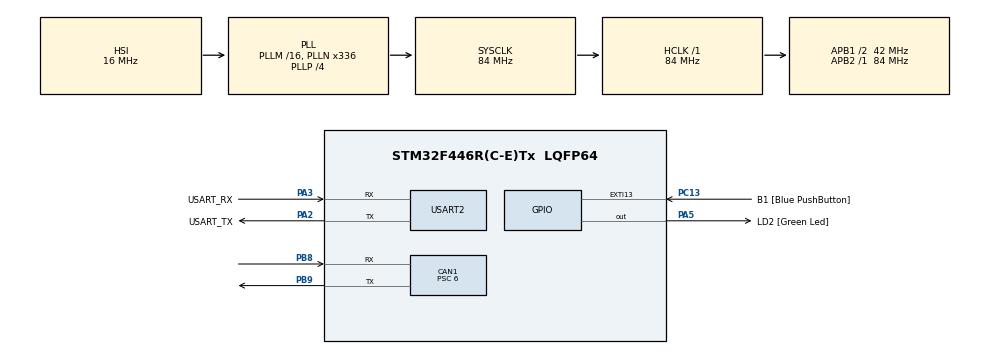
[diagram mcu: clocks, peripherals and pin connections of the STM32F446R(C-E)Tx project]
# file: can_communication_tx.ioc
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CAN1.BS1=CAN_BS1_11TQ
CAN1.BS2=CAN_BS2_2TQ
CAN1.CalculateBaudRate=500000
CAN1.CalculateTimeBit=2000
CAN1.CalculateTimeQuantum=142.85714285714286
CAN1.NART=ENABLE
CAN1.Prescaler=6
Mcu.Family=STM32F4
Mcu.Name=STM32F446R(C-E)Tx
Mcu.Package=LQFP64
NVIC.PriorityGroup=NVIC_PRIORITYGROUP_0
PA13.GPIO_Label=TMS
PA13.Mode=Serial_Wire
PA13.Signal=SYS_JTMS-SWDIO
PA14.GPIO_Label=TCK
PA14.Mode=Serial_Wire
PA14.Signal=SYS_JTCK-SWCLK
PA2.GPIO_Label=USART_TX
PA2.Mode=Asynchronous
PA2.Signal=USART2_TX
PA3.GPIO_Label=USART_RX
PA3.Mode=Asynchronous
PA3.Signal=USART2_RX
PA5.GPIO_Label=LD2 [Green Led]
PA5.Signal=GPIO_Output
PB3.GPIO_Label=SWO
PB3.Signal=SYS_JTDO-SWO
PB8.Mode=CAN_Activate
PB8.Signal=CAN1_RX
PB9.Mode=CAN_Activate
PB9.Signal=CAN1_TX
PC13.GPIO_Label=B1 [Blue PushButton]
PC13.GPIO_ModeDefaultEXTI=GPIO_MODE_IT_FALLING
PC13.Signal=GPXTI13
PC14-OSC32_IN.Mode=LSE-External-Oscillator
PC14-OSC32_IN.Signal=RCC_OSC32_IN
PC15-OSC32_OUT.Mode=LSE-External-Oscillator
PC15-OSC32_OUT.Signal=RCC_OSC32_OUT
PH0-OSC_IN.Mode=HSE-External-Oscillator
PH0-OSC_IN.Signal=RCC_OSC_IN
PH1-OSC_OUT.Mode=HSE-External-Oscillator
PH1-OSC_OUT.Signal=RCC_OSC_OUT
ProjectManager.HeapSize=0x200
ProjectManager.StackSize=0x400
ProjectManager.TargetToolchain=STM32CubeIDE
RCC.48MHZClocksFreq_Value=84000000
RCC.AHBFreq_Value=84000000
RCC.APB1CLKDivider=RCC_HCLK_DIV2
RCC.APB1Freq_Value=42000000
RCC.APB1TimFreq_Value=84000000
RCC.APB2Freq_Value=84000000
RCC.APB2TimFreq_Value=84000000
RCC.CortexFreq_Value=84000000
RCC.FLatency-AdvancedSettings=FLASH_LATENCY_2
RCC.HCLKFreq_Value=84000000
RCC.HSE_VALUE=8000000
RCC.HSI_VALUE=16000000
RCC.PLLN=336
RCC.PLLP=RCC_PLLP_DIV4
RCC.SYSCLKFreq_VALUE=84000000
RCC.SYSCLKSource=RCC_SYSCLKSOURCE_PLLCLK
RCC.USBFreq_Value=168000000
RCC.VCOOutputFreq_Value=336000000
USART2.VirtualMode=VM_ASYNC
board=NUCLEO-F446RE

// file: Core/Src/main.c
/* USER CODE BEGIN Header */
/**
  ******************************************************************************
  * @file           : main.c
  * @brief          : Main program body
  ******************************************************************************
  * @attention
  *
  * Copyright (c) 2026 STMicroelectronics.
  * All rights reserved.
  *
  * This software is licensed under terms that can be found in the LICENSE file
  * in the root directory of this software component.
  * If no LICENSE file comes with this software, it is provided AS-IS.
  *
  ******************************************************************************
  */
/* USER CODE END Header */
#include "main.h"

CAN_HandleTypeDef hcan1;

UART_HandleTypeDef huart2;

/* USER CODE BEGIN PV */
/* USER CODE BEGIN PV */

CAN_TxHeaderTypeDef TxHeader;
uint32_t TxMailbox;
uint8_t TxData[8];

uint32_t speed_table[] = {50, 100, 300, 500};

uint8_t speed_index = 0;

uint32_t interval = 50;

uint32_t last_time = 0;

GPIO_PinState last_button = GPIO_PIN_SET;

uint8_t current_target = 0;

/* USER CODE END PV */
/* USER CODE END PV */

void SystemClock_Config(void);
static void MX_GPIO_Init(void);
static void MX_CAN1_Init(void);
static void MX_USART2_UART_Init(void);

int main(void)
{

  /* MCU Configuration--------------------------------------------------------*/

  /* Reset of all peripherals, Initializes the Flash interface and the Systick. */
  HAL_Init();

  /* Configure the system clock */
  SystemClock_Config();

  /* Initialize all configured peripherals */
  MX_GPIO_Init();
  MX_CAN1_Init();
  MX_USART2_UART_Init();
  /* USER CODE BEGIN 2 */
  /* USER CODE BEGIN 2 */

  /* USER CODE BEGIN 2 */

  if (HAL_CAN_Start(&hcan1) != HAL_OK)
  {
      Error_Handler();
  }

  /* Initial state: STM1 LED ON */
  HAL_GPIO_WritePin(LD2_GPIO_Port,
                    LD2_Pin,
                    GPIO_PIN_SET);

  TxHeader.StdId = 0x101;
  TxHeader.ExtId = 0x00;
  TxHeader.IDE = CAN_ID_STD;
  TxHeader.RTR = CAN_RTR_DATA;
  TxHeader.DLC = 1;
  TxHeader.TransmitGlobalTime = DISABLE;

  /* USER CODE END 2 */

  /* USER CODE END 2 */
  /* USER CODE END 2 */

  /* Infinite loop */
  /* USER CODE BEGIN WHILE */
  while (1)
  {
      GPIO_PinState current_button;

      current_button = HAL_GPIO_ReadPin(B1_GPIO_Port, B1_Pin);

      /* Button pressed */
      if ((current_button == GPIO_PIN_RESET) &&
          (last_button == GPIO_PIN_SET))
      {
          HAL_Delay(20);

          if (HAL_GPIO_ReadPin(B1_GPIO_Port, B1_Pin) == GPIO_PIN_RESET)
          {
              speed_index++;

              if (speed_index >= 4)
              {
                  speed_index = 0;
              }

              interval = speed_table[speed_index];

              /* Wait for release */
              while (HAL_GPIO_ReadPin(B1_GPIO_Port, B1_Pin) == GPIO_PIN_RESET)
              {
              }

              HAL_Delay(20);
          }
      }

      last_button = current_button;

      /* Automatic LED sequence */
      if ((HAL_GetTick() - last_time) >= interval)
      {
          last_time = HAL_GetTick();

          current_target++;

          if (current_target > 2)
          {
              current_target = 0;
          }

          /* STM2 */
          TxHeader.StdId = 0x101;
          TxData[0] = (current_target == 1) ? 1 : 0;

          if (HAL_CAN_AddTxMessage(&hcan1,
                                   &TxHeader,
                                   TxData,
                                   &TxMailbox) != HAL_OK)
          {
              Error_Handler();
          }

          while (HAL_CAN_IsTxMessagePending(&hcan1, TxMailbox));

          /* STM3 */
          TxHeader.StdId = 0x102;
          TxData[0] = (current_target == 2) ? 1 : 0;

          if (HAL_CAN_AddTxMessage(&hcan1,
                                   &TxHeader,
                                   TxData,
                                   &TxMailbox) != HAL_OK)
          {
              Error_Handler();
          }

          while (HAL_CAN_IsTxMessagePending(&hcan1, TxMailbox));

          /* STM1 */
          HAL_GPIO_WritePin(LD2_GPIO_Port,
                            LD2_Pin,
                            (current_target == 0) ?
                            GPIO_PIN_SET :
                            GPIO_PIN_RESET);
      }

  }}
void SystemClock_Config(void)
{
  RCC_OscInitTypeDef RCC_OscInitStruct = {0};
  RCC_ClkInitTypeDef RCC_ClkInitStruct = {0};

  /** Configure the main internal regulator output voltage
  */
  __HAL_RCC_PWR_CLK_ENABLE();
  __HAL_PWR_VOLTAGESCALING_CONFIG(PWR_REGULATOR_VOLTAGE_SCALE3);

  /** Initializes the RCC Oscillators according to the specified parameters
  * in the RCC_OscInitTypeDef structure.
  */
  RCC_OscInitStruct.OscillatorType = RCC_OSCILLATORTYPE_HSI;
  RCC_OscInitStruct.HSIState = RCC_HSI_ON;
  RCC_OscInitStruct.HSICalibrationValue = RCC_HSICALIBRATION_DEFAULT;
  RCC_OscInitStruct.PLL.PLLState = RCC_PLL_ON;
  RCC_OscInitStruct.PLL.PLLSource = RCC_PLLSOURCE_HSI;
  RCC_OscInitStruct.PLL.PLLM = 16;
  RCC_OscInitStruct.PLL.PLLN = 336;
  RCC_OscInitStruct.PLL.PLLP = RCC_PLLP_DIV4;
  RCC_OscInitStruct.PLL.PLLQ = 2;
  RCC_OscInitStruct.PLL.PLLR = 2;
  if (HAL_RCC_OscConfig(&RCC_OscInitStruct) != HAL_OK)
  {
    Error_Handler();
  }

  /** Initializes the CPU, AHB and APB buses clocks
  */
  RCC_ClkInitStruct.ClockType = RCC_CLOCKTYPE_HCLK|RCC_CLOCKTYPE_SYSCLK
                              |RCC_CLOCKTYPE_PCLK1|RCC_CLOCKTYPE_PCLK2;
  RCC_ClkInitStruct.SYSCLKSource = RCC_SYSCLKSOURCE_PLLCLK;
  RCC_ClkInitStruct.AHBCLKDivider = RCC_SYSCLK_DIV1;
  RCC_ClkInitStruct.APB1CLKDivider = RCC_HCLK_DIV2;
  RCC_ClkInitStruct.APB2CLKDivider = RCC_HCLK_DIV1;

  if (HAL_RCC_ClockConfig(&RCC_ClkInitStruct, FLASH_LATENCY_2) != HAL_OK)
  {
    Error_Handler();
  }
}

static void MX_CAN1_Init(void)
{

  hcan1.Instance = CAN1;
  hcan1.Init.Prescaler = 6;
  hcan1.Init.Mode = CAN_MODE_NORMAL;
  hcan1.Init.SyncJumpWidth = CAN_SJW_1TQ;
  hcan1.Init.TimeSeg1 = CAN_BS1_11TQ;
  hcan1.Init.TimeSeg2 = CAN_BS2_2TQ;
  hcan1.Init.TimeTriggeredMode = DISABLE;
  hcan1.Init.AutoBusOff = DISABLE;
  hcan1.Init.AutoWakeUp = DISABLE;
  hcan1.Init.AutoRetransmission = ENABLE;
  hcan1.Init.ReceiveFifoLocked = DISABLE;
  hcan1.Init.TransmitFifoPriority = DISABLE;
  if (HAL_CAN_Init(&hcan1) != HAL_OK)
  {
    Error_Handler();
  }

}

static void MX_USART2_UART_Init(void)
{

  huart2.Instance = USART2;
  huart2.Init.BaudRate = 115200;
  huart2.Init.WordLength = UART_WORDLENGTH_8B;
  huart2.Init.StopBits = UART_STOPBITS_1;
  huart2.Init.Parity = UART_PARITY_NONE;
  huart2.Init.Mode = UART_MODE_TX_RX;
  huart2.Init.HwFlowCtl = UART_HWCONTROL_NONE;
  huart2.Init.OverSampling = UART_OVERSAMPLING_16;
  if (HAL_UART_Init(&huart2) != HAL_OK)
  {
    Error_Handler();
  }

}

static void MX_GPIO_Init(void)
{
  GPIO_InitTypeDef GPIO_InitStruct = {0};

  /* GPIO Ports Clock Enable */
  __HAL_RCC_GPIOC_CLK_ENABLE();
  __HAL_RCC_GPIOH_CLK_ENABLE();
  __HAL_RCC_GPIOA_CLK_ENABLE();
  __HAL_RCC_GPIOB_CLK_ENABLE();

  /*Configure GPIO pin Output Level */
  HAL_GPIO_WritePin(LD2_GPIO_Port, LD2_Pin, GPIO_PIN_RESET);

  /*Configure GPIO pin : B1_Pin */
  GPIO_InitStruct.Pin = B1_Pin;
  GPIO_InitStruct.Mode = GPIO_MODE_IT_FALLING;
  GPIO_InitStruct.Pull = GPIO_NOPULL;
  HAL_GPIO_Init(B1_GPIO_Port, &GPIO_InitStruct);

  /*Configure GPIO pin : LD2_Pin */
  GPIO_InitStruct.Pin = LD2_Pin;
  GPIO_InitStruct.Mode = GPIO_MODE_OUTPUT_PP;
  GPIO_InitStruct.Pull = GPIO_NOPULL;
  GPIO_InitStruct.Speed = GPIO_SPEED_FREQ_LOW;
  HAL_GPIO_Init(LD2_GPIO_Port, &GPIO_InitStruct);

}

void Error_Handler(void)
{
  __disable_irq();
  while (1)
  {
  }
}
